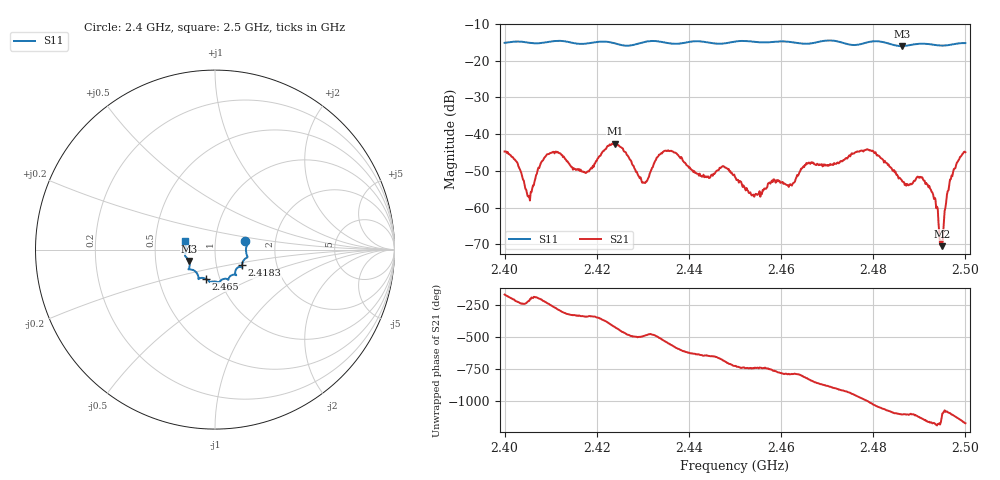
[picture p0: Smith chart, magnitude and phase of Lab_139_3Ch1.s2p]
# Hz S RI R 50
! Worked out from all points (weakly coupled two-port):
!   601 points, 2.4 GHz to 2.5 GHz, reference 50 ohm
!   highest |S21| = -42.59 dB at 2.424 GHz (marker M1); lowest = -70.5 dB at 2.495 GHz (marker M2)
!   lowest |S11| = -16.0 dB at 2.4862 GHz (marker M3), VSWR 1.38, Z = 37.1 - j4.81 ohm
!   |S11| at or under -10 dB: start of sweep to end of sweep
!   S12 and S22 are empty: the file has one direction only
!   S11 on the Smith chart (normalised r, x): 2.4 GHz: 1.40, +0.13; 2.4183 GHz: 1.33, -0.24; 2.465 GHz: 0.86, -0.29; 2.5 GHz: 0.71, +0.07
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2.4e9  0.1692 0.0456  -0.00571 -0.000992  0 0  0 0
2.402667e9  0.1796 0.0335  -0.003 0.00287  0 0  0 0
2.405333e9  0.1748 0.0155  -0.0011 0.000906  0 0  0 0
2.409667e9  0.178 -0.0324  -0.00234 0.00484  0 0  0 0
2.416667e9  0.155 -0.0684  0.00289 0.00114  0 0  0 0
2.418333e9  0.1499 -0.087  0.00287 0.00118  0 0  0 0
2.424e9  0.1424 -0.0962  0.00312 -0.00674  0 0  0 0
2.430333e9  0.1146 -0.1385  -0.00144 -0.00164  0 0  0 0
2.433333e9  0.1168 -0.1413  -0.00384 -0.00314  0 0  0 0
2.45e9  0.025 -0.1805  0.0026 -0.00025  0 0  0 0
2.4545e9  0.011 -0.1797  0.00144 -0.000542  0 0  0 0
2.462167e9  -0.0332 -0.1765  0.000715 -0.00191  0 0  0 0
2.465e9  -0.0528 -0.1621  -8.97e-05 -0.00355  0 0  0 0
2.466667e9  -0.0713 -0.1574  -0.00208 -0.00359  0 0  0 0
2.478833e9  -0.1406 -0.1104  0.00105 0.00609  0 0  0 0
2.483333e9  -0.1421 -0.096  0.00384 0.000338  0 0  0 0
2.486167e9  -0.1448 -0.0632  0.00217 -0.000936  0 0  0 0
2.492e9  -0.1663 -0.0278  0.0003 -0.00186  0 0  0 0
2.494667e9  -0.1609 0.000243  3.55e-05 -0.000351  0 0  0 0
2.495e9  -0.1607 0.00431  0.000286 -8.02e-05  0 0  0 0
2.497e9  -0.1638 0.0274  0.0025 -0.00109  0 0  0 0
2.5e9  -0.1671 0.0477  -0.000128 -0.00567  0 0  0 0
